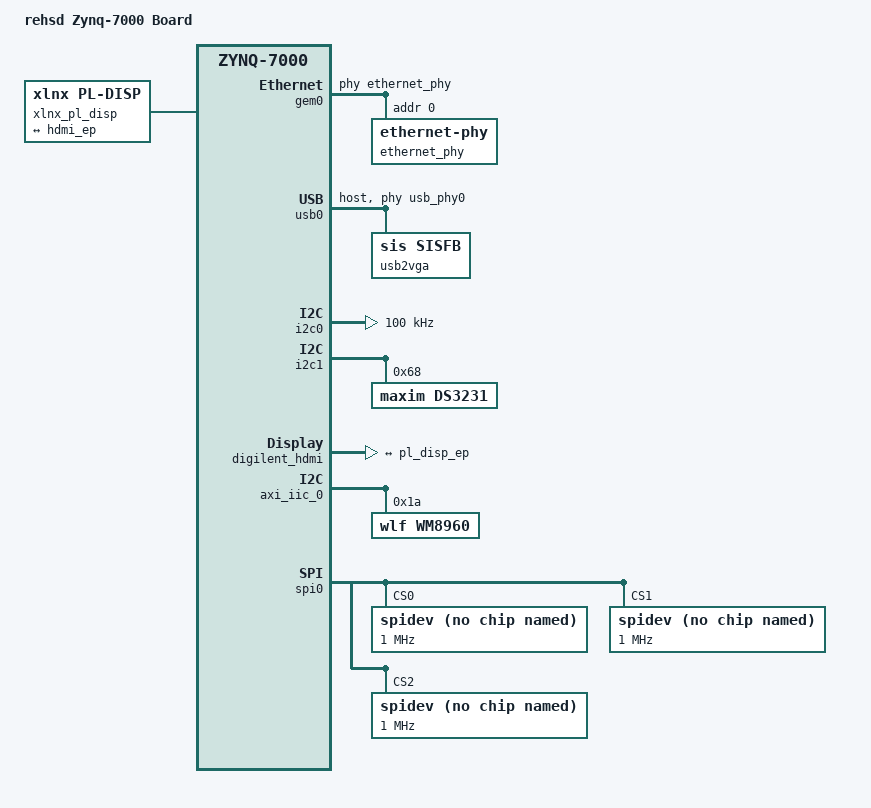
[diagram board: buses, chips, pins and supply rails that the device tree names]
/include/ "system-conf.dtsi"
#include <dt-bindings/gpio/gpio.h>
/ {
	model = "rehsd Zynq-7000 Board";
	compatible = "rehsd,zynq-7000", "xlnx,zynq-7000";
	chosen {
		bootargs = "console=ttyPS0,115200 earlyprintk root=/dev/mmcblk0p2 rw rootwait uio_pdrv_genirq.of_id=generic-uio video=HDMI-A-1:1280x720M-24@60";
		//1920x1080M-24@60 works fine
		//1024x768M-24@60 works fine
	};
	
	usb_phy0: usb_phy@0 {
		compatible = "ulpi-phy";
		#phy-cells = <0>;
		reg = <0xe0002000 0x1000>;
		view-port = <0x0170>;
		reset-gpios = <&gpio0 46 1>;
		drv-vbus;
	};
};

&gem0 {
        phy-handle = <&ethernet_phy>;
        ethernet_phy: ethernet-phy@0 {
                device_type = "ethernet-phy";
                reg = <0>;
                /* dt-bindings/phy/realtek.h */
                /* #define REALTEK_LED_LINK10              BIT(0)
                   #define REALTEK_LED_LINK100             BIT(1)
                   #define REALTEK_LED_LINK1000            BIT(3)
                   #define REALTEK_LED_ACT                 BIT(4)
                   #define REALTEK_LED_DEFAULT             BIT(7)
                */
                /* LED0=10+A, LED1=100+A, LED2=1000+A */
                realtek,leds-config = <0x11 0x12 0x18>;
        };
};
&usb0 {
   	status = "okay";
   	dr_mode = "host";
   	usb-phy = <&usb_phy0>;

	
	/* HID (Human Interface Device) for mouse */
	/* mouse@1 {
	    compatible = "usb-mouse";
	    status = "okay";
	};
	*/

	usb2vga {
		compatible = "sis,sisfb";	/* sisusb (x), sisfb (x), sisusbvga, sis ? */
		vendor_id = <0x0711>;
		product_id = <0x0900>;
		status = "okay"; 
		framebuffer {
			label = "fb1"; 
			compatible = "linux,fb"; 
			linux,fb_base = <0x0>; 
		};
	};
};
&i2c0 {
    	clock-frequency = <100000>;
    	status = "okay";
};
&i2c1 {
	status = "okay";
	ds3231: rtc@68 {
		compatible = "maxim,ds3231";
		reg = <0x68>;
	};
};

&amba_pl {
	digilent_hdmi {
		compatible = "digilent,hdmi";
		clocks = <&axi_dynclk_0>;
		clock-names = "clk";
		digilent,edid-i2c = <&i2c0>;
		digilent,fmax = <150000>;
		digilent,hmax = <1920>;
		digilent,vmax = <1080>;
		digilent,hpref = <1280>;
		digilent,vpref = <720>;
		port@0 { 
			hdmi_ep: endpoint { 
				remote-endpoint = <&pl_disp_ep>; 
			}; 
		}; 
	};
	xlnx_pl_disp {
		compatible = "xlnx,pl-disp";
		device-id = <0xaa01>;
		dmas = <&axi_vdma_0 0>; 	
		dma-names = "dma0"; 
		//xlnx,vformat = "RG24"; 	/* "RG24" -- XB24.no BG24.no AR24.no XR24.no RG24.yes */
		//https://coral.googlesource.com/linux-imx/+/refs/heads/imx_4.14.98_2.0.0_ga/drivers/gpu/drm/drm_fourcc.c
		xlnx,vformat = "XR24"; 	/* "RG24" works */
		xlnx,bridge = <&v_tc_0>; 
		port@0 { 
			pl_disp_ep: endpoint { 
				remote-endpoint = <&hdmi_ep>; 
			}; 
		};
	};
    audio_formatter_0: audio_formatter@83c00000 {
		audio-codec = <&wm8960>;
		#sound-dai-cells = <0>;
		status = "okay";
	}; 
	axi_iic_0: i2c@81600000 {
		interrupts = < 0 36 4 >;
		xlnx,iic-freq-khz = <100>;
		compatible = "xlnx,axi-iic-2.1" , "xlnx,xps-iic-2.00.a";
		xlnx,scl-inertial-delay = <0>;
		interrupt-parent = <&intc>;
		xlnx,rable = <0>;
		xlnx,ip-name = "axi_iic";
		xlnx,disable-setup-violation-check = <0>;
		reg = <0x81600000 0x10000>;
		clocks = <&misc_clk_1>;
		xlnx,gpo-width = <1>;
		xlnx,edk-iptype = "PERIPHERAL";
		xlnx,static-timing-reg-width = <0>;
		xlnx,sda-level = <1>;
		status = "okay";
		clock-names = "s_axi_aclk";
		xlnx,ten-bit-adr = <0>;
		xlnx,default-value = <0x0>;
		interrupt-names = "iic2intc_irpt";
		xlnx,iic-board-interface = "Custom";
		xlnx,timing-reg-width = <32>;
		xlnx,iic-freq = <100000>;
		xlnx,smbus-pmbus-host = <0>;
		xlnx,name = "axi_iic_0";
		xlnx,axi-aclk-freq-mhz = <48>;
		xlnx,sda-inertial-delay = <0>;
		wm8960: wm8960@1a {
			#sound-dai-cells = <0>;   // only single DAI
			compatible = "wlf,wm8960";
			clock-names ="mclk";
			clocks =<&misc_clk_0>;
			assigned-clocks = <&misc_clk_0>;
			assigned-clock-rates = <24000000>;
			reg = <0x1a>;		//wm8960 datasheet lists 0x34. the reg value is shifted left by one. 0x1A << 1 = 0x34
		};
	};	
	i2s_receiver_0: i2s_receiver@83c10000 {
		audio-codec = <&wm8960>;
		#sound-dai-cells = <0>;
	};
	i2s_transmitter_0: i2s_transmitter@83c20000 {
		audio-codec = <&wm8960>;
		#sound-dai-cells = <0>;
	};
};
&spi0 {
	is-decoded-cs = <0>;
	num-cs = <3>;
	bus-num = <0>;
	status = "okay";
	spidev@0x00 {
		//compatible = "spidev";
		//see https://www.hackster.io/whitney-knitter/spidev-tutorial-for-zynq-7000-fpga-devices-b5e399
		//see https://stackoverflow.com/questions/53634892/linux-spidev-why-it-shouldnt-be-directly-in-devicetree
		compatible = "rohm,dh2228fv";
		spi-max-frequency = <1000000>;    //max of 25 Mhz
		reg = <0>;
		
		//SPI mode
		spi-cpol = <0>;
		spi-cpha = <0>;
	};
	spidev@0x01 {
		compatible = "spidev";
		spi-max-frequency = <1000000>;
		reg = <1>;
	};
	spidev@0x02 {
		compatible = "spidev";
		spi-max-frequency = <1000000>;
		reg = <2>;
	};
};
&axi_vdma_0 {
	device-id = <0xaa02>;
	reg = < 0x43000000 0x10000 >;
	dma-ranges = <0x00000000 0x00000000 0x40000000>;
	xlnx,num-fstores = <0x4>;
};
&axi_dynclk_0 {
	compatible = "dglnt,axi-dynclk";
	#clock-cells = <0>;
	clocks = <&clkc 15>;
};
&v_tc_0 {
	compatible = "xlnx,bridge-v-tc-6.1";	/* 6.2 is the from the block design, but doesn't work here */
	xlnx,pixels-per-clock = <1>; 
};
&axi_gpio_hdmi {
	compatible = "generic-uio";	
};

